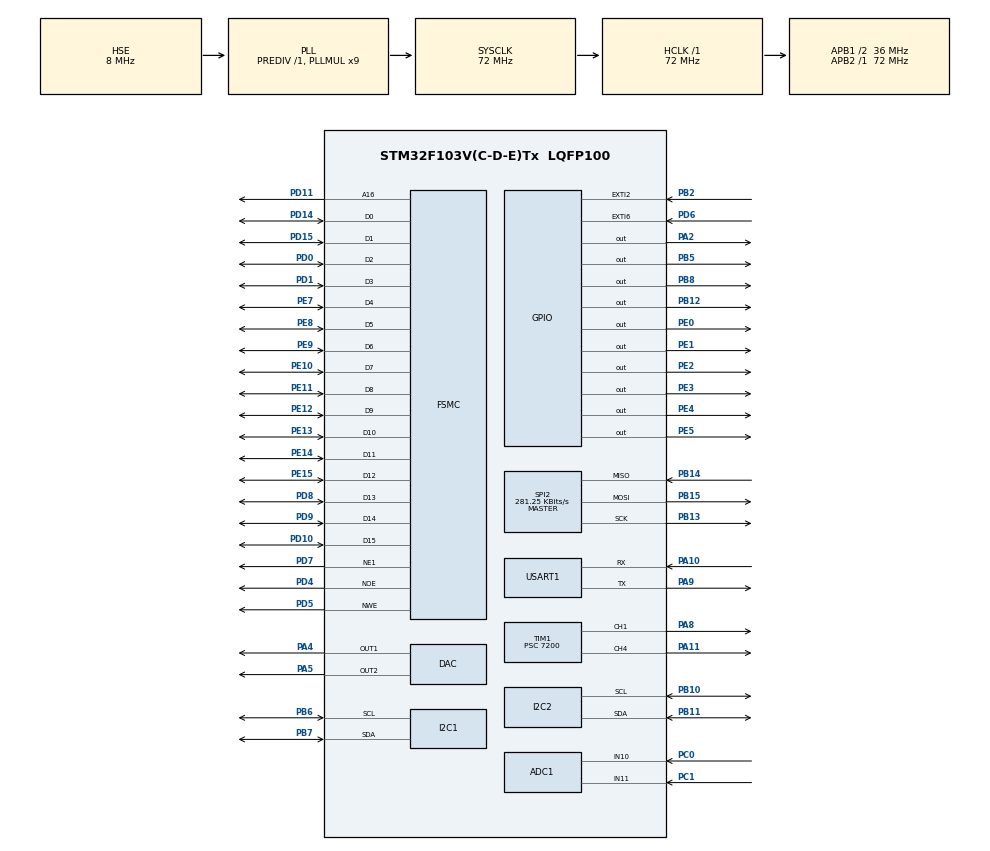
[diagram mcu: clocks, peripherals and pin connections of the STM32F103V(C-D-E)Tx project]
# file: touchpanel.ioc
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ADC1.Channel-3\#ChannelRegularConversion=ADC_CHANNEL_10
ADC1.Channel-4\#ChannelRegularConversion=ADC_CHANNEL_11
ADC1.ContinuousConvMode=ENABLE
ADC1.NbrOfConversion=2
ADC1.NbrOfConversionFlag=1
ADC1.Rank-3\#ChannelRegularConversion=1
ADC1.Rank-4\#ChannelRegularConversion=2
ADC1.SamplingTime-3\#ChannelRegularConversion=ADC_SAMPLETIME_239CYCLES_5
ADC1.SamplingTime-4\#ChannelRegularConversion=ADC_SAMPLETIME_239CYCLES_5
ADC1.master=1
Dma.ADC1.0.Direction=DMA_PERIPH_TO_MEMORY
Dma.ADC1.0.Instance=DMA1_Channel1
Dma.ADC1.0.MemDataAlignment=DMA_MDATAALIGN_HALFWORD
Dma.ADC1.0.MemInc=DMA_MINC_ENABLE
Dma.ADC1.0.Mode=DMA_CIRCULAR
Dma.ADC1.0.PeriphDataAlignment=DMA_PDATAALIGN_HALFWORD
Dma.ADC1.0.PeriphInc=DMA_PINC_DISABLE
Dma.ADC1.0.Priority=DMA_PRIORITY_LOW
Dma.Request0=ADC1
FSMC.AddressSetupTime1=1
FSMC.BusTurnAroundDuration1=1
FSMC.DataSetupTime1=3
I2C1.I2C_Mode=I2C_Fast
I2C2.GeneralCallMode=I2C_GENERALCALL_DISABLE
I2C2.OwnAddress=2
Mcu.Family=STM32F1
Mcu.Name=STM32F103V(C-D-E)Tx
Mcu.Package=LQFP100
NVIC.ADC1_2_IRQn=true\:0\:0\:false\:false\:true\:true\:true
NVIC.DMA1_Channel1_IRQn=true\:0\:0\:false\:false\:true\:false\:true
NVIC.EXTI2_IRQn=true\:0\:0\:false\:false\:true\:true\:true
NVIC.EXTI9_5_IRQn=true\:0\:0\:false\:false\:true\:true\:true
NVIC.I2C2_ER_IRQn=true\:0\:0\:false\:false\:true\:true\:true
NVIC.I2C2_EV_IRQn=true\:0\:0\:false\:false\:true\:true\:true
NVIC.PriorityGroup=NVIC_PRIORITYGROUP_4
NVIC.RTC_IRQn=true\:0\:0\:false\:false\:true\:true\:true
OSC_IN.Mode=HSE-External-Oscillator
OSC_IN.Signal=RCC_OSC_IN
OSC_OUT.Mode=HSE-External-Oscillator
OSC_OUT.Signal=RCC_OSC_OUT
PA10.Mode=Asynchronous
PA10.Signal=USART1_RX
PA11.Signal=S_TIM1_CH4
PA13.Mode=JTAG_5_pins
PA13.Signal=SYS_JTMS-SWDIO
PA14.Mode=JTAG_5_pins
PA14.Signal=SYS_JTCK-SWCLK
PA15.Mode=JTAG_5_pins
PA15.Signal=SYS_JTDI
PA2.Signal=GPIO_Output
PA4.Signal=COMP_DAC1_group
PA5.Signal=COMP_DAC2_group
PA8.Signal=S_TIM1_CH1
PA9.Mode=Asynchronous
PA9.Signal=USART1_TX
PB10.Mode=I2C
PB10.Signal=I2C2_SCL
PB11.Mode=I2C
PB11.Signal=I2C2_SDA
PB12.Signal=GPIO_Output
PB13.Mode=Full_Duplex_Master
PB13.Signal=SPI2_SCK
PB14.Mode=Full_Duplex_Master
PB14.Signal=SPI2_MISO
PB15.Mode=Full_Duplex_Master
PB15.Signal=SPI2_MOSI
PB2.Signal=GPXTI2
PB3.Mode=JTAG_5_pins
PB3.Signal=SYS_JTDO-TRACESWO
PB4.Mode=JTAG_5_pins
PB4.Signal=SYS_NJTRST
PB5.GPIO_PuPd=GPIO_PULLUP
PB5.Signal=GPIO_Output
PB6.Mode=I2C
PB6.Signal=I2C1_SCL
PB7.Mode=I2C
PB7.Signal=I2C1_SDA
PB8.Signal=GPIO_Output
PC0.Signal=ADCx_IN10
PC1.Signal=ADCx_IN11
PC14-OSC32_IN.Mode=LSE-External-Oscillator
PC14-OSC32_IN.Signal=RCC_OSC32_IN
PC15-OSC32_OUT.Mode=LSE-External-Oscillator
PC15-OSC32_OUT.Signal=RCC_OSC32_OUT
PD0.Mode=16b-d1
PD0.Signal=FSMC_D2
PD1.Mode=16b-d1
PD1.Signal=FSMC_D3
PD10.Mode=16b-d1
PD10.Signal=FSMC_D15
PD11.Mode=A16_1
PD11.Signal=FSMC_A16
PD14.Mode=16b-d1
PD14.Signal=FSMC_D0
PD15.Mode=16b-d1
PD15.Signal=FSMC_D1
PD4.Mode=Lcd1
PD4.Signal=FSMC_NOE
PD5.Mode=Lcd1
PD5.Signal=FSMC_NWE
PD6.Signal=GPXTI6
PD7.Mode=NorPsramChipSelect1_1
PD7.Signal=FSMC_NE1
PD8.Mode=16b-d1
PD8.Signal=FSMC_D13
PD9.Mode=16b-d1
PD9.Signal=FSMC_D14
PE0.Signal=GPIO_Output
PE1.Signal=GPIO_Output
PE10.Mode=16b-d1
PE10.Signal=FSMC_D7
PE11.Mode=16b-d1
PE11.Signal=FSMC_D8
PE12.Mode=16b-d1
PE12.Signal=FSMC_D9
PE13.Mode=16b-d1
PE13.Signal=FSMC_D10
PE14.Mode=16b-d1
PE14.Signal=FSMC_D11
PE15.Mode=16b-d1
PE15.Signal=FSMC_D12
PE2.Signal=GPIO_Output
PE3.Signal=GPIO_Output
PE4.Signal=GPIO_Output
PE5.Signal=GPIO_Output
PE7.Mode=16b-d1
PE7.Signal=FSMC_D4
PE8.Mode=16b-d1
PE8.Signal=FSMC_D5
PE9.Mode=16b-d1
PE9.Signal=FSMC_D6
ProjectManager.HeapSize=0x200
ProjectManager.StackSize=0x400
ProjectManager.TargetToolchain=Other Toolchains (GPDSC)
RCC.ADCPresc=RCC_ADCPCLK2_DIV6
RCC.AHBFreq_Value=72000000
RCC.APB1CLKDivider=RCC_HCLK_DIV2
RCC.APB1Freq_Value=36000000
RCC.APB1TimFreq_Value=72000000
RCC.APB2Freq_Value=72000000
RCC.APB2TimFreq_Value=72000000
RCC.HCLKFreq_Value=72000000
RCC.PLLMUL=RCC_PLL_MUL9
RCC.PLLSourceVirtual=RCC_PLLSOURCE_HSE
RCC.SYSCLKFreq_VALUE=72000000
RCC.SYSCLKSource=RCC_SYSCLKSOURCE_PLLCLK
RCC.USBFreq_Value=72000000
SH.ADCx_IN10.0=ADC1_IN10,IN10
SH.ADCx_IN11.0=ADC1_IN11,IN11
SH.COMP_DAC1_group.0=DAC_OUT1,DAC_OUT1
SH.COMP_DAC2_group.0=DAC_OUT2,DAC_OUT2
SH.S_TIM1_CH1.0=TIM1_CH1,PWM Generation1 CH1
SH.S_TIM1_CH4.0=TIM1_CH4,PWM Generation4 CH4
SPI2.BaudRatePrescaler=SPI_BAUDRATEPRESCALER_128
SPI2.CalculateBaudRate=281.25 KBits/s
SPI2.Direction=SPI_DIRECTION_2LINES
SPI2.Mode=SPI_MODE_MASTER
SPI2.VirtualType=VM_MASTER
TIM1.Channel-PWM\ Generation1\ CH1=TIM_CHANNEL_1
TIM1.Channel-PWM\ Generation2\ No\ Output=TIM_CHANNEL_2
TIM1.Channel-PWM\ Generation3\ No\ Output=TIM_CHANNEL_3
TIM1.Channel-PWM\ Generation4\ CH4=TIM_CHANNEL_4
TIM1.Period=10000
TIM1.Prescaler=7200
USART1.VirtualMode=VM_ASYNC
VP_CRC_VS_CRC.Mode=CRC_Activate
VP_RTC_VS_RTC_Activate.Mode=RTC_Enabled
VP_RTC_VS_RTC_Calendar.Mode=RTC_Calendar
VP_TIM1_VS_ClockSourceINT.Mode=Internal
VP_TIM1_VS_no_output2.Mode=PWM Generation2 No Output
VP_TIM1_VS_no_output3.Mode=PWM Generation3 No Output
board=custom

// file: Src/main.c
/* USER CODE BEGIN Header */
/**
  ******************************************************************************
  * @file           : main.c
  * @brief          : Main program body
  ******************************************************************************
  * @attention
  *
  * <h2><center>&copy; Copyright (c) 2019 STMicroelectronics.
  * All rights reserved.</center></h2>
  *
  * This software component is licensed by ST under BSD 3-Clause license,
  * the "License"; You may not use this file except in compliance with the
  * License. You may obtain a copy of the License at:
  *                        opensource.org/licenses/BSD-3-Clause
  *
  ******************************************************************************
  */
/* USER CODE END Header */

#include "main.h"
#include "adc.h"
#include "crc.h"
#include "dac.h"
#include "dma.h"
#include "i2c.h"
#include "rtc.h"
#include "spi.h"
#include "tim.h"
#include "usart.h"
#include "gpio.h"
#include "fsmc.h"

#include "gui/GUI.h"
#include "gui/PROGBAR.h"
#include "Me/at45db16.h"

void SystemClock_Config(void);

int main(void)
{

  /* MCU Configuration--------------------------------------------------------*/

  /* Reset of all peripherals, Initializes the Flash interface and the Systick. */
  HAL_Init();

  /* Configure the system clock */
  SystemClock_Config();

  /* Initialize all configured peripherals */
  MX_GPIO_Init();
  MX_DMA_Init();
  MX_DAC_Init();
  MX_FSMC_Init();
  MX_TIM1_Init();
  MX_CRC_Init();
  MX_USART1_UART_Init();
  MX_I2C2_Init();
  MX_RTC_Init();
  MX_SPI2_Init();
  MX_ADC1_Init();
  MX_I2C1_Init();
  /* USER CODE BEGIN 2 */
	AT45_init();
	char at45 = 0;
	//AT45_Write(0,0, 61);
	at45=AT45_ReadMain(0, 0);

	Main_Task();
	WM_HWIN D;
	GUI_Init();
	D= WM_GetDesktopWindow();
	WM_SelectWindow(D);
	WM_SetDesktopColor(GUI_WHITE);
	WM_ShowWindow(D);
	//WM_Activate();
	WM_Exec();

	WM_Exec();
	GUI_SetBkColor(0x0000);

	GUI_Clear();
	GUI_SetColor(GUI_WHITE);
	GUI_FillRect(200, 2000, 600, 600);
	GUI_SetBkColor(GUI_GREEN);GUI_Exec();
	GUI_Clear();

	GUI_SetBkColor(GUI_RED);
	GUI_Clear();
	GUI_SetColor(GUI_BLUE);
	GUI_DrawCircle(100, 100, 50);

	PROGBAR_Handle hProgBar;
	GUI_DispStringAt("Progress bar", 100, 20);
	hProgBar = PROGBAR_Create(100, 40, 100, 20, WM_CF_SHOW);
	//PROGBAR_SetSkin(hProgBar, 1);
	//WM_Exec();
	PROGBAR_SetBarColor(hProgBar, 0, GUI_WHITE);
	PROGBAR_SetBarColor(hProgBar, 1, GUI_WHITE);
	PROGBAR_SetValue(hProgBar, 45);
	WM_Exec();
	//HAL_Delay(1000);
  /* USER CODE END 2 */

  /* Infinite loop */
  while (1)
  {

  }
}

void SystemClock_Config(void)
{
  RCC_OscInitTypeDef RCC_OscInitStruct = {0};
  RCC_ClkInitTypeDef RCC_ClkInitStruct = {0};
  RCC_PeriphCLKInitTypeDef PeriphClkInit = {0};

  /** Initializes the CPU, AHB and APB busses clocks
  */
  RCC_OscInitStruct.OscillatorType = RCC_OSCILLATORTYPE_LSI|RCC_OSCILLATORTYPE_HSE;
  RCC_OscInitStruct.HSEState = RCC_HSE_ON;
  RCC_OscInitStruct.HSEPredivValue = RCC_HSE_PREDIV_DIV1;
  RCC_OscInitStruct.HSIState = RCC_HSI_ON;
  RCC_OscInitStruct.LSIState = RCC_LSI_ON;
  RCC_OscInitStruct.PLL.PLLState = RCC_PLL_ON;
  RCC_OscInitStruct.PLL.PLLSource = RCC_PLLSOURCE_HSE;
  RCC_OscInitStruct.PLL.PLLMUL = RCC_PLL_MUL9;
  if (HAL_RCC_OscConfig(&RCC_OscInitStruct) != HAL_OK)
  {
    Error_Handler();
  }
  /** Initializes the CPU, AHB and APB busses clocks
  */
  RCC_ClkInitStruct.ClockType = RCC_CLOCKTYPE_HCLK|RCC_CLOCKTYPE_SYSCLK
                              |RCC_CLOCKTYPE_PCLK1|RCC_CLOCKTYPE_PCLK2;
  RCC_ClkInitStruct.SYSCLKSource = RCC_SYSCLKSOURCE_PLLCLK;
  RCC_ClkInitStruct.AHBCLKDivider = RCC_SYSCLK_DIV1;
  RCC_ClkInitStruct.APB1CLKDivider = RCC_HCLK_DIV2;
  RCC_ClkInitStruct.APB2CLKDivider = RCC_HCLK_DIV1;

  if (HAL_RCC_ClockConfig(&RCC_ClkInitStruct, FLASH_LATENCY_2) != HAL_OK)
  {
    Error_Handler();
  }
  PeriphClkInit.PeriphClockSelection = RCC_PERIPHCLK_RTC|RCC_PERIPHCLK_ADC;
  PeriphClkInit.RTCClockSelection = RCC_RTCCLKSOURCE_LSI;
  PeriphClkInit.AdcClockSelection = RCC_ADCPCLK2_DIV6;
  if (HAL_RCCEx_PeriphCLKConfig(&PeriphClkInit) != HAL_OK)
  {
    Error_Handler();
  }
}

void Error_Handler(void)
{
}

/************************ (C) COPYRIGHT STMicroelectronics *****END OF FILE****/
